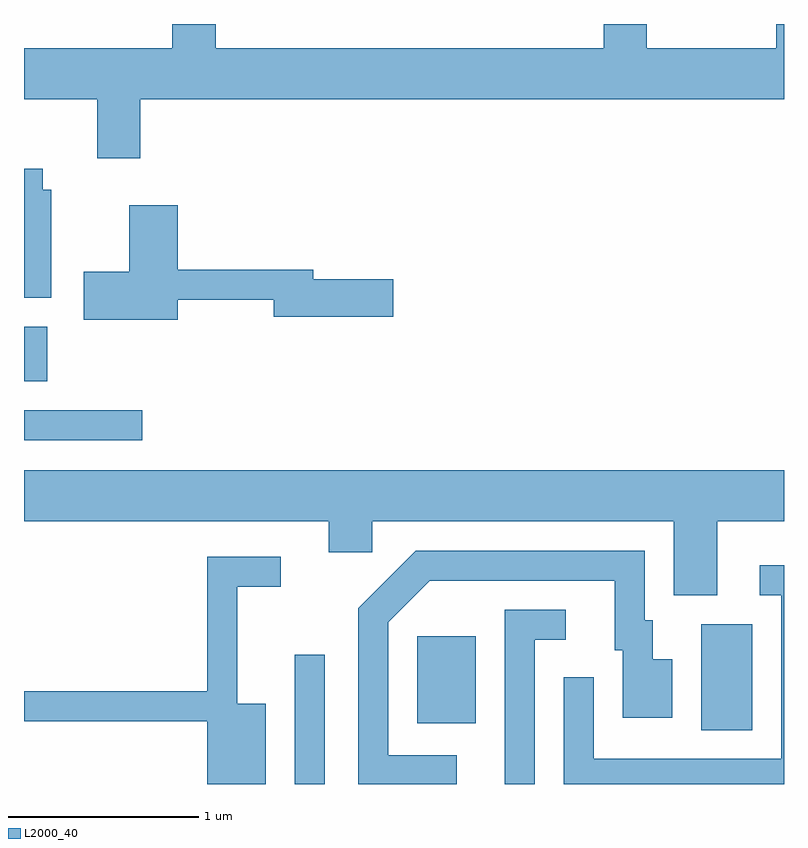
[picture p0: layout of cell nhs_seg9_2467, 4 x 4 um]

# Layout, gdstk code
import gdstk
lib = gdstk.Library(unit=1e-6, precision=1e-09)
def R(c, l, rs):  # rectangles x0, y0, x1, y1
    for r in rs: c.add(gdstk.rectangle(r[:2], r[2:], *l))
def P(c, l, *ps):  # polygons
    for p in ps: c.add(gdstk.Polygon(p, *l))
L2000_40 = (2000, 40)

nhs_seg9_2467 = lib.new_cell('nhs_seg9_2467')
R(nhs_seg9_2467, L2000_40, [(259.036,1990.432,259.194,1991.113), (261.176,1990.716,261.444,1991.274), (259.681,1990.751,259.989,1991.209), (257.611,1992.241,258.233,1992.399), (257.611,1992.551,257.734,1992.839)])
P(nhs_seg9_2467, L2000_40, [(261.611,1994.432),(261.571,1994.432),(261.571,1994.304),(260.889,1994.304),(260.889,1994.432),(260.661,1994.432),(260.661,1994.304),(258.619,1994.304),(258.619,1994.432),(258.391,1994.432),(258.391,1994.304),(257.611,1994.304),(257.611,1994.036),(257.996,1994.036),(257.996,1993.726),(258.224,1993.726),(258.224,1994.036),(261.611,1994.036)],
  [(257.754,1993.559),(257.709,1993.559),(257.709,1993.669),(257.611,1993.669),(257.611,1992.991),(257.754,1992.991)],
  [(258.419,1992.981),(258.926,1992.981),(258.926,1992.891),(259.554,1992.891),(259.554,1993.089),(259.134,1993.089),(259.134,1993.139),(258.419,1993.139),(258.419,1993.479),(258.166,1993.479),(258.166,1993.129),(257.926,1993.129),(257.926,1992.876),(258.419,1992.876)],
  [(261.259,1991.816),(261.611,1991.816),(261.611,1992.084),(257.611,1992.084),(257.611,1991.816),(259.216,1991.816),(259.216,1991.651),(259.444,1991.651),(259.444,1991.816),(261.031,1991.816),(261.031,1991.426),(261.259,1991.426)],
  [(259.888,1990.584),(259.529,1990.584),(259.529,1991.284),(259.747,1991.501),(260.721,1991.501),(260.721,1991.136),(260.761,1991.136),(260.761,1990.781),(261.024,1990.781),(261.024,1991.089),(260.919,1991.089),(260.919,1991.294),(260.879,1991.294),(260.879,1991.659),(259.674,1991.659),(259.371,1991.357),(259.371,1990.432),(259.888,1990.432)],
  [(258.884,1990.854),(258.734,1990.854),(258.734,1991.471),(258.962,1991.471),(258.962,1991.629),(258.576,1991.629),(258.576,1990.919),(257.611,1990.919),(257.611,1990.761),(258.576,1990.761),(258.576,1990.432),(258.884,1990.432)],
  [(261.611,1991.584),(261.483,1991.584),(261.483,1991.426),(261.596,1991.426),(261.596,1990.564),(260.609,1990.564),(260.609,1990.993),(260.451,1990.993),(260.451,1990.432),(261.611,1990.432)],
  [(260.299,1991.191),(260.462,1991.191),(260.462,1991.349),(260.141,1991.349),(260.141,1990.432),(260.299,1990.432)])

lib.write_gds('nhs_seg9_2467.gds')
